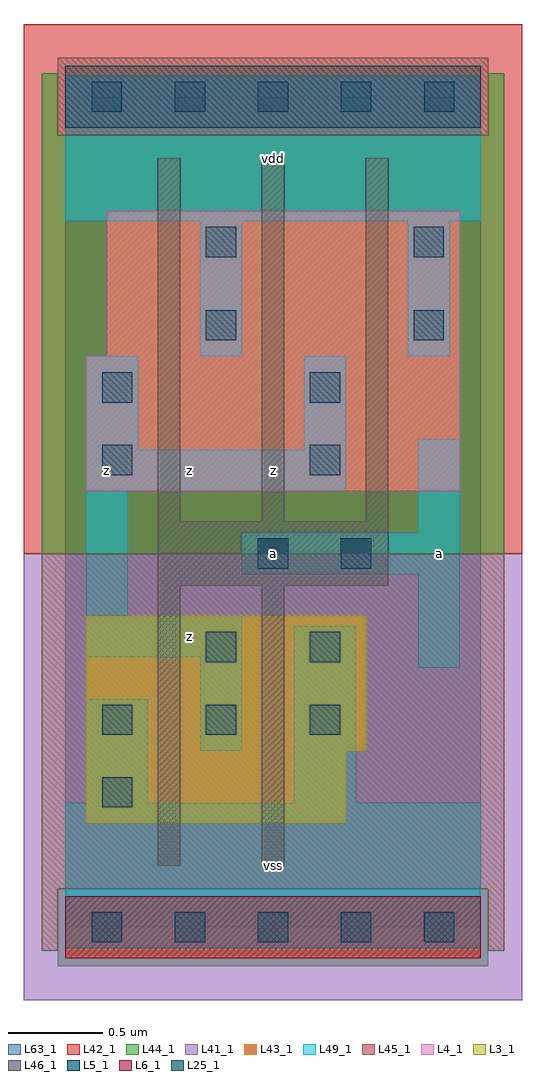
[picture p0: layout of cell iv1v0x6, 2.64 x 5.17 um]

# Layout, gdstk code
import gdstk
lib = gdstk.Library(unit=1e-6, precision=1e-09)
def R(c, l, rs):  # rectangles x0, y0, x1, y1
    for r in rs: c.add(gdstk.rectangle(r[:2], r[2:], *l))
def A(c, l, x, y, w, h, nx, ny, dx, dy):  # array of equal rectangles
    R(c, l, [(x+i*dx, y+j*dy, x+i*dx+w, y+j*dy+h) for i in range(nx) for j in range(ny)])
L3_1 = (3, 1)
L4_1 = (4, 1)
L5_1 = (5, 1)
L6_1 = (6, 1)
L25_1 = (25, 1)
L41_1 = (41, 1)
L42_1 = (42, 1)
L43_1 = (43, 1)
L44_1 = (44, 1)
L45_1 = (45, 1)
L46_1 = (46, 1)
L49_1 = (49, 1)
L63_1 = (63, 1)

iv1v0x6 = lib.new_cell('iv1v0x6')
R(iv1v0x6, L3_1, [(0.11,0.55,1.485,0.935), (0.11,0.935,1.595,1.65)])
R(iv1v0x6, L4_1, [(0.11,2.31,2.09,3.025), (0.22,3.025,2.09,3.795)])
R(iv1v0x6, L5_1, [(0,4.235,2.2,4.565)])
R(iv1v0x6, L6_1, [(0,-0.165,2.2,0.165)])
A(iv1v0x6, L25_1, 0.14, -0.08, 0.16, 0.16, 5, 2, 0.44, 4.4)
A(iv1v0x6, L25_1, 0.195, 1.02, 0.16, 0.16, 3, 1, 0.55, 0)
R(iv1v0x6, L25_1, [(0.195,0.635,0.355,0.795), (0.745,1.405,0.905,1.565), (1.295,1.405,1.455,1.565), (1.02,1.9,1.18,2.06), (1.46,1.9,1.62,2.06), (0.195,2.395,0.355,2.555), (1.295,2.395,1.455,2.555), (0.195,2.78,0.355,2.94), (1.295,2.78,1.455,2.94), (0.745,3.11,0.905,3.27), (1.845,3.11,2.005,3.27), (0.745,3.55,0.905,3.71), (1.845,3.55,2.005,3.71)])
R(iv1v0x6, L41_1, [(-0.22,-0.385,2.42,1.98)])
R(iv1v0x6, L42_1, [(-0.22,1.98,2.42,4.785)])
R(iv1v0x6, L43_1, [(0,-0.165,2.2,0.165), (0.11,0.55,1.485,0.935), (0.11,0.935,1.595,1.65), (0.11,2.31,2.09,3.025), (0.22,3.025,2.09,3.795), (0,4.235,2.2,4.565)])
R(iv1v0x6, L44_1, [(-0.04,-0.205,2.24,0.205), (-0.125,1.98,2.325,4.195), (-0.125,4.195,-0.04,4.525), (2.24,4.195,2.325,4.525)])
R(iv1v0x6, L45_1, [(-0.125,-0.125,-0.04,0.205), (2.24,-0.125,2.325,0.205), (-0.125,0.205,2.325,1.98), (-0.04,4.195,2.24,4.605)])
A(iv1v0x6, L46_1, 0.49, 2.15, 0.12, 1.925, 3, 1, 0.55, 0)
R(iv1v0x6, L46_1, [(0.49,0.325,0.61,1.81), (1.04,0.325,1.16,1.81), (0.49,1.81,1.71,2.15)])
R(iv1v0x6, L49_1, [(0,-0.11,2.2,0.66), (0.11,0.66,0.44,1.21), (1.21,0.66,1.54,1.595), (0.715,0.935,0.935,1.43), (1.87,1.375,2.09,1.87), (0.11,1.43,0.935,1.65), (0.11,1.65,0.33,2.31), (0.935,1.87,2.09,2.09), (1.87,2.09,2.09,2.585), (0.11,2.31,1.485,2.53), (0.11,2.53,0.385,3.025), (1.265,2.53,1.485,3.025), (0.715,3.025,0.935,3.74), (1.815,3.025,2.035,3.74), (0,3.74,2.2,4.51)])
R(iv1v0x6, L63_1, [(0,0,2.2,4.4)])
iv1v0x6.add(gdstk.Label('z', (0.22,2.42), layer=49, texttype=1))
iv1v0x6.add(gdstk.Label('z', (0.66,1.54), layer=49, texttype=1))
iv1v0x6.add(gdstk.Label('z', (0.66,2.42), layer=49, texttype=1))
iv1v0x6.add(gdstk.Label('vss', (1.1,0.33), layer=49, texttype=1))
iv1v0x6.add(gdstk.Label('a', (1.1,1.98), layer=49, texttype=1))
iv1v0x6.add(gdstk.Label('z', (1.1,2.42), layer=49, texttype=1))
iv1v0x6.add(gdstk.Label('vdd', (1.1,4.07), layer=49, texttype=1))
iv1v0x6.add(gdstk.Label('a', (1.98,1.98), layer=49, texttype=1))

lib.write_gds('iv1v0x6.gds')
